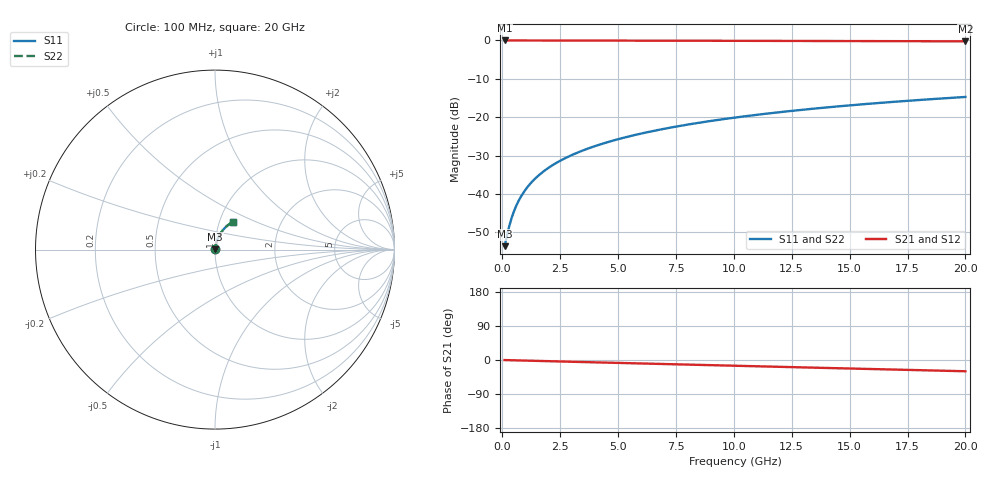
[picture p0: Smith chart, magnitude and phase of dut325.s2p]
! Touchstone file exported from HFSS 2026.1.0
!  File:  C:/ffzhzh/LocalFiles/Ansys_Project_Files/temp_train_BSMRDL_325_1783010911_46388.aedt
!  Generated:  12:49:46 AM Jul  3, 2026
!  Design:  BSMRDL
!  Project:  temp_train_BSMRDL_325_1783010911_46388
! Variables:
!  h_bsmrdl = 5.89um
!  h_ox = 20um
!  h_rdl = 5um
!  h_sub = 80um
!  h_tmrdl = 5um
!  h_tsv = 80um
!  h_via = 3um
!  l_bsmrdl = 486.9um
!  l_sub = 886.9um
!  l_tmrdl = 200um
!  m_sub = 200um
!  pitch = 33.51um
!  r_tsv = 6um
!  s_tmrdl = 10um
!  w_bsmrdl = 19.56um
!  w_sub = 500um
!  w_tmrdl = 12um
!  x_tsv_center1 = 206um
!  x_tsv_center2 = 712.46um
!  x_tsv_center3 = 924.46um
!  x_tsv_center4 = 1430.92um
!  x_tsv_center5 = 1642.92um
!  x_tsv_center6 = 2149.38um
# GHz S MA R 50.000000
! Terminal data exported
! Port[1] = BSM_RDL1_1_T1
! Port[2] = BSM_RDL1_1_T2
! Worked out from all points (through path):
!   200 points, 100 MHz to 20 GHz, reference 50 ohm
!   highest |S21| = -0.01 dB at 100 MHz (marker M1); lowest = -0.2 dB at 20 GHz (marker M2)
!   group delay of S21, straight-line fit = 4.11 ps
!   lowest |S11| = -53.6 dB at 100 MHz (marker M3), VSWR 1.00, Z = 50.2 + j0.128 ohm
!   |S11| at or under -10 dB: start of sweep to end of sweep
!   |S22| runs from -53.6 to -14.7 dB; largest |S21 - S12| = 4.5e-15
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0.1  0.002095 37.4  0.9983 -0.2  0.9983 -0.2  0.002095 37.4
! Gamma 0 0 0 0
! Port Impedance 50 0 50 0
0.3  0.003815 64.5  0.9981 -0.5  0.9981 -0.5  0.003808 64.1
0.4  0.004851 69.7  0.998 -0.6  0.998 -0.6  0.004841 69.3
0.5  0.00592 72.8  0.9979 -0.8  0.9979 -0.8  0.005907 72.5
0.6  0.007004 74.9  0.9978 -1.0  0.9978 -1.0  0.006988 74.6
0.8  0.009186 77.3  0.9977 -1.3  0.9977 -1.3  0.009167 77.1
1.1  0.01245 78.9  0.9975 -1.7  0.9975 -1.7  0.01243 78.8
1.3  0.01461 79.3  0.9974 -2.0  0.9974 -2.0  0.01458 79.3
1.5  0.01674 79.5  0.9973 -2.4  0.9973 -2.4  0.01672 79.5
1.8  0.0199 79.6  0.997 -2.8  0.997 -2.8  0.01988 79.6
2.1  0.02302 79.5  0.9968 -3.3  0.9968 -3.3  0.023 79.5
2.7  0.02913 79.1  0.9962 -4.2  0.9962 -4.2  0.02912 79.1
3.5  0.03711 78.3  0.9953 -5.4  0.9953 -5.4  0.03711 78.3
4.2  0.04397 77.6  0.9946 -6.5  0.9946 -6.5  0.04397 77.6
5  0.05173 76.8  0.9937 -7.7  0.9937 -7.7  0.05173 76.7
5.9  0.06035 75.7  0.9926 -9.0  0.9926 -9.0  0.06035 75.7
6.8  0.06888 74.7  0.9916 -10.4  0.9916 -10.4  0.06888 74.6
8.3  0.08291 72.8  0.9899 -12.6  0.9899 -12.6  0.08291 72.8
10.1  0.09943 70.5  0.9877 -15.3  0.9877 -15.3  0.09943 70.5
13.4  0.1288 66.1  0.9832 -20.1  0.9832 -20.1  0.1288 66.1
16.7  0.1569 61.7  0.9783 -24.9  0.9783 -24.9  0.1569 61.7
20  0.1835 57.2  0.9729 -29.7  0.9729 -29.7  0.1835 57.2
